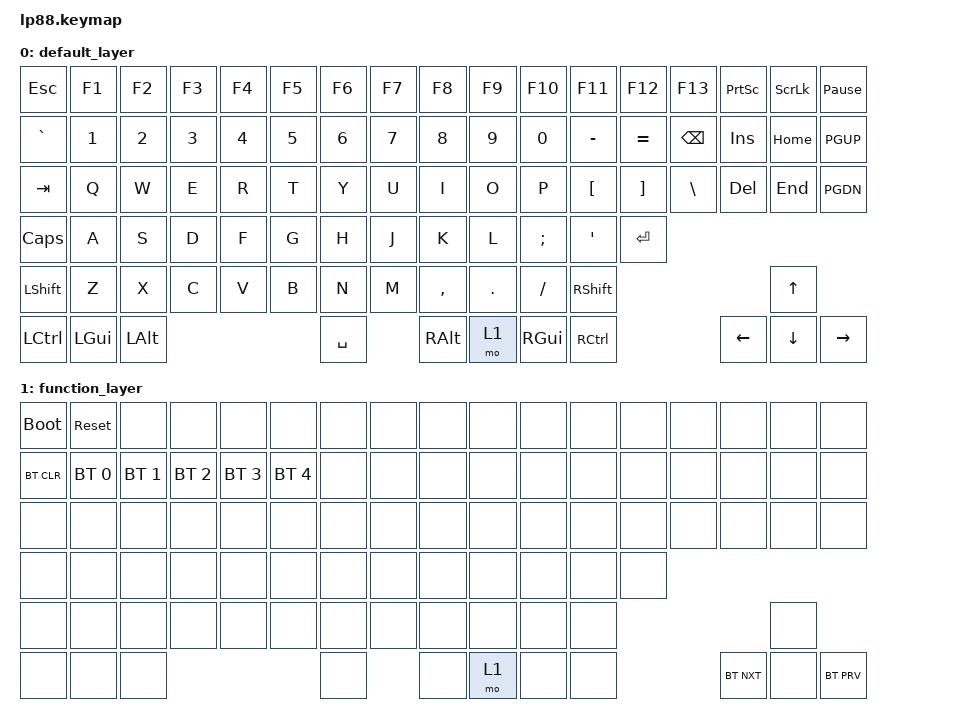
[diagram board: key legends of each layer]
/*
 * Copyright (c) 2020 The ZMK Contributors
 *
 * SPDX-License-Identifier: MIT
 */

#include <behaviors.dtsi>
#include <dt-bindings/zmk/keys.h>
#include <dt-bindings/zmk/bt.h>

/ {
        keymap {
                compatible = "zmk,keymap";
                default_layer {
                        bindings = <
                        &kp ESC   &kp F1   &kp F2 &kp F3 &kp F4 &kp F5 &kp F6 &kp F7 &kp F8    &kp F9  &kp F10  &kp F11   &kp F12   &kp F13  &kp PSCRN &kp SLCK &kp PAUSE_BREAK
                        &kp GRAVE &kp N1   &kp N2 &kp N3 &kp N4 &kp N5 &kp N6 &kp N7 &kp N8    &kp N9  &kp N0   &kp MINUS &kp EQUAL &kp BSPC &kp INS   &kp HOME &kp PGUP
                        &kp TAB   &kp Q    &kp W  &kp E  &kp R  &kp T  &kp Y  &kp U  &kp I     &kp O   &kp P    &kp LBKT  &kp RBKT  &kp BSLH &kp DEL   &kp END  &kp PGDN
                        &kp CAPS  &kp A    &kp S  &kp D  &kp F  &kp G  &kp H  &kp J  &kp K     &kp L   &kp SEMI &kp SQT   &kp ENTER
                        &kp LSHFT &kp Z    &kp X  &kp C  &kp V  &kp B  &kp N  &kp M  &kp COMMA &kp DOT &kp FSLH &kp RSHFT                              &kp UP
                        &kp LCTRL &kp LGUI &kp LALT                 &kp SPACE        &kp RALT  &mo 1   &kp RGUI &kp RCTRL                    &kp LEFT  &kp DOWN &kp RIGHT
                        >;
                };
                function_layer {
                        bindings = <
                        &bootloader &sys_reset &none &none &none &none &none &none &none &none &none &none &none &none &none &none &none
                        &bt BT_CLR &bt BT_SEL 0 &bt BT_SEL 1 &bt BT_SEL 2 &bt BT_SEL 3 &bt BT_SEL 4 &none &none &none &none &none &none &none &none &none &none &none
                        &none &none &none &none &none &none &none &none &none &none &none &none &none &none &none &none &none
                        &none &none &none &none &none &none &none &none &none &none &none &none &none
                        &none &none &none &none &none &none &none &none &none &none &none &none                   &none
                        &none &none &none                 &none         &none &mo 1 &none &none            &bt BT_NXT  &none &bt BT_PRV
                        >;
                };
        };
};
